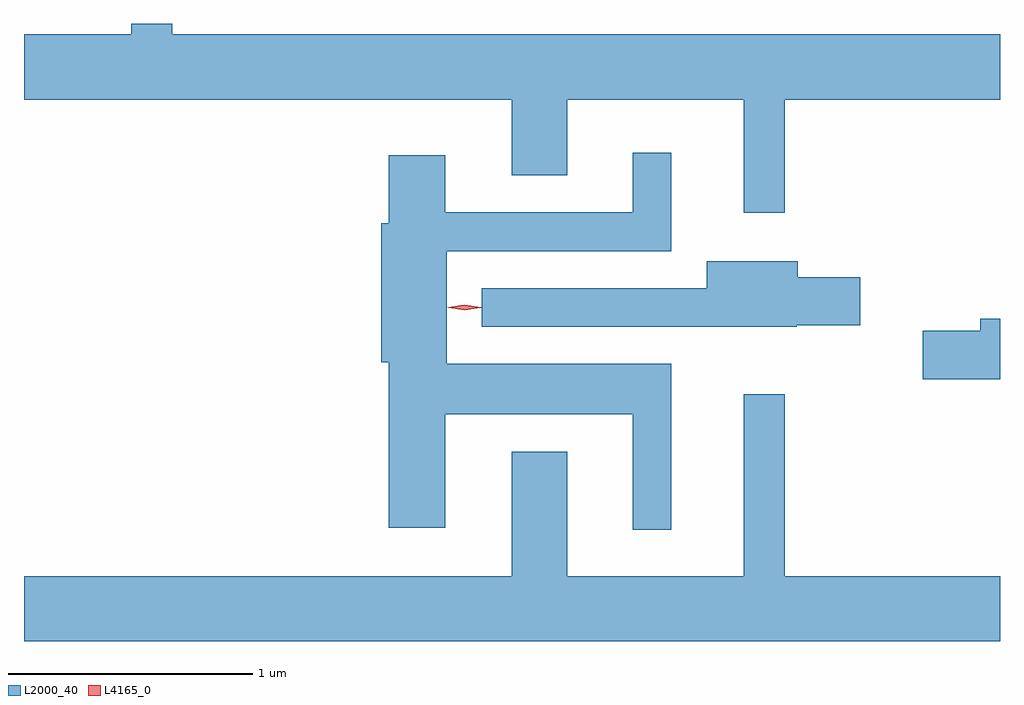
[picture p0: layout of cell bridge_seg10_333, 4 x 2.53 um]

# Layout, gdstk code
import gdstk
lib = gdstk.Library(unit=1e-6, precision=1e-09)
def P(c, l, *ps):  # polygons
    for p in ps: c.add(gdstk.Polygon(p, *l))
L2000_40 = (2000, 40)
L4165_0 = (4165, 0)

bridge_seg10_333 = lib.new_cell('bridge_seg10_333')
P(bridge_seg10_333, L2000_40, [(1331.359,2169.416),(1332.242,2169.416),(1332.242,2169.684),(1328.849,2169.684),(1328.849,2169.728),(1328.681,2169.728),(1328.681,2169.684),(1328.242,2169.684),(1328.242,2169.416),(1330.241,2169.416),(1330.241,2169.106),(1330.469,2169.106),(1330.469,2169.416),(1331.191,2169.416),(1331.191,2168.953),(1331.359,2168.953)],
  [(1330.894,2168.334),(1329.974,2168.334),(1329.974,2168.796),(1330.894,2168.796),(1330.894,2169.198),(1330.736,2169.198),(1330.736,2168.954),(1329.969,2168.954),(1329.969,2169.189),(1329.736,2169.189),(1329.736,2168.909),(1329.706,2168.909),(1329.706,2168.341),(1329.736,2168.341),(1329.736,2167.661),(1329.969,2167.661),(1329.969,2168.126),(1330.736,2168.126),(1330.736,2167.653),(1330.894,2167.653)],
  [(1331.41,2168.491),(1331.669,2168.491),(1331.669,2168.689),(1331.414,2168.689),(1331.414,2168.754),(1331.041,2168.754),(1331.041,2168.644),(1330.118,2168.644),(1330.118,2168.486),(1331.41,2168.486)],
  [(1332.242,2168.519),(1332.161,2168.519),(1332.161,2168.469),(1331.926,2168.469),(1331.926,2168.271),(1332.242,2168.271)],
  [(1332.242,2167.464),(1331.359,2167.464),(1331.359,2168.208),(1331.191,2168.208),(1331.191,2167.464),(1330.469,2167.464),(1330.469,2167.974),(1330.241,2167.974),(1330.241,2167.464),(1328.242,2167.464),(1328.242,2167.196),(1332.242,2167.196)])
P(bridge_seg10_333, L4165_0, [(1330.047,2168.555),(1329.978,2168.565),(1329.978,2168.566),(1329.978,2168.566),(1330.047,2168.575),(1330.116,2168.566),(1330.116,2168.565),(1330.116,2168.564)],
  [(1330.048,2168.553),(1329.983,2168.563),(1329.983,2168.564),(1329.983,2168.564),(1330.048,2168.573),(1330.112,2168.564),(1330.113,2168.564),(1330.112,2168.563)])

lib.write_gds('bridge_seg10_333.gds')
